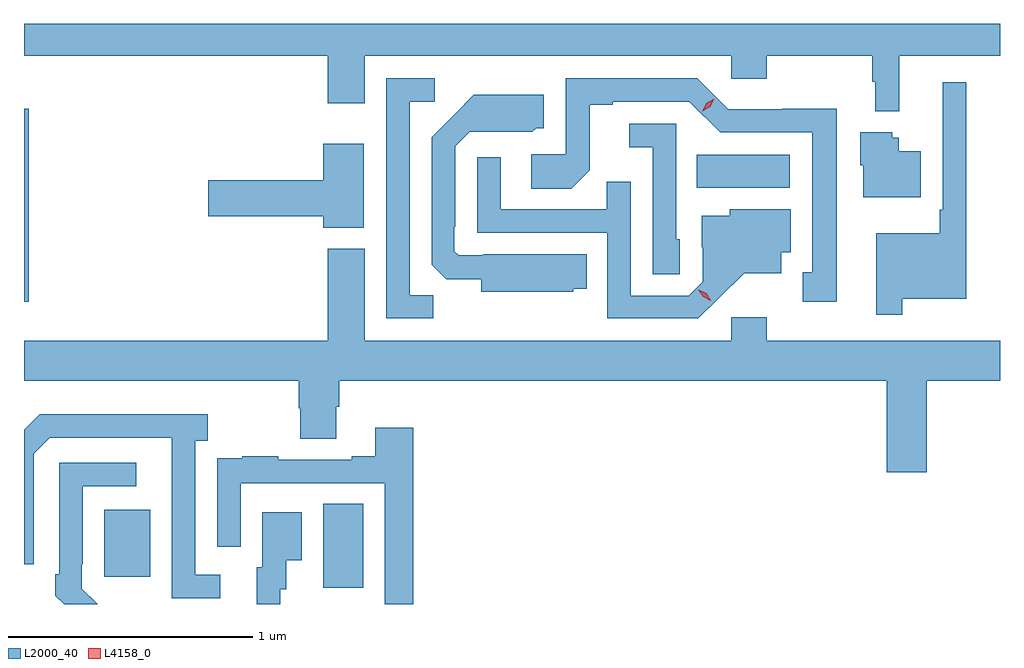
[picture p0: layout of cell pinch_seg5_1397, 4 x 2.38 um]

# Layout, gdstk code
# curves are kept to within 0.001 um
import gdstk
lib = gdstk.Library(unit=1e-6, precision=1e-09)
def R(c, l, rs):  # rectangles x0, y0, x1, y1
    for r in rs: c.add(gdstk.rectangle(r[:2], r[2:], *l))
def P(c, l, *ps):  # polygons
    for p in ps: c.add(gdstk.Polygon(p, *l))
L2000_40 = (2000, 40)
L4158_0 = (4158, 0)

pinch_seg5_1397 = lib.new_cell('pinch_seg5_1397')
R(pinch_seg5_1397, L2000_40, [(126.734,913.189,126.898,913.532), (125.837,913.233,126.025,913.507), (125.508,914.361,125.527,915.152), (128.266,914.828,128.647,914.962)])
P(pinch_seg5_1397, L2000_40, [(129.095,915.368),(129.508,915.368),(129.508,915.5),(125.508,915.5),(125.508,915.368),(126.752,915.368),(126.752,915.174),(126.904,915.174),(126.904,915.368),(128.406,915.368),(128.406,915.275),(128.553,915.275),(128.553,915.368),(128.985,915.368),(128.985,915.261),(128.996,915.261),(128.996,915.14),(129.095,915.14)],
  [(127.185,914.387),(127.089,914.387),(127.089,915.18),(127.192,915.18),(127.192,915.276),(126.993,915.276),(126.993,914.292),(127.185,914.292)],
  [(128.839,915.152),(128.616,915.152),(128.616,915.15),(128.394,915.15),(128.268,915.276),(127.728,915.276),(127.728,914.964),(127.587,914.964),(127.587,914.824),(127.751,914.824),(127.827,914.9),(127.827,915.168),(127.921,915.168),(127.921,915.18),(128.235,915.18),(128.361,915.054),(128.738,915.054),(128.738,914.481),(128.699,914.481),(128.699,914.361),(128.839,914.361)],
  [(129.108,914.372),(129.37,914.372),(129.37,915.259),(129.273,915.259),(129.273,914.737),(129.261,914.737),(129.261,914.641),(129,914.641),(129,914.307),(129.108,914.307)],
  [(127.758,914.414),(127.814,914.414),(127.814,914.554),(127.39,914.554),(127.39,914.55),(127.29,914.55),(127.272,914.568),(127.272,914.668),(127.275,914.668),(127.275,914.997),(127.335,915.057),(127.592,915.056),(127.608,915.072),(127.639,915.072),(127.639,915.208),(127.351,915.208),(127.179,915.034),(127.179,914.512),(127.238,914.453),(127.382,914.453),(127.382,914.402),(127.758,914.402)],
  [(128.196,914.616),(128.181,914.616),(128.181,915.09),(127.989,915.09),(127.989,914.993),(128.085,914.993),(128.085,914.473),(128.196,914.473)],
  [(129.184,914.977),(129.094,914.977),(129.094,915.033),(129.066,915.033),(129.066,915.055),(128.936,915.055),(128.936,914.919),(128.948,914.919),(128.948,914.789),(129.184,914.789)],
  [(126.901,915.007),(126.734,915.007),(126.734,914.858),(126.264,914.858),(126.264,914.711),(126.734,914.711),(126.734,914.663),(126.901,914.663)],
  [(128.356,914.375),(128.459,914.477),(128.611,914.477),(128.611,914.564),(128.65,914.564),(128.65,914.74),(128.4,914.74),(128.4,914.713),(128.285,914.713),(128.285,914.584),(128.289,914.584),(128.289,914.442),(128.232,914.385),(127.995,914.385),(127.995,914.852),(127.897,914.852),(127.897,914.739),(127.461,914.739),(127.461,914.953),(127.365,914.953),(127.365,914.643),(127.899,914.643),(127.899,914.292),(128.272,914.292)],
  [(129.208,914.036),(129.508,914.036),(129.508,914.2),(128.553,914.2),(128.553,914.296),(128.406,914.296),(128.406,914.2),(126.904,914.2),(126.904,914.578),(126.752,914.578),(126.752,914.2),(125.508,914.2),(125.508,914.036),(126.635,914.036),(126.635,913.923),(126.64,913.923),(126.64,913.798),(126.787,913.798),(126.787,913.93),(126.8,913.93),(126.8,914.036),(129.044,914.036),(129.044,913.662),(129.208,913.662)],
  [(126.313,913.242),(126.21,913.242),(126.21,913.79),(126.262,913.79),(126.262,913.9),(125.572,913.9),(125.508,913.836),(125.508,913.284),(125.547,913.284),(125.547,913.737),(125.613,913.803),(126.113,913.803),(126.114,913.146),(126.313,913.146)],
  [(127.103,913.843),(126.947,913.843),(126.947,913.726),(126.851,913.726),(126.851,913.713),(126.551,913.713),(126.551,913.726),(126.403,913.726),(126.403,913.719),(126.301,913.719),(126.301,913.61),(126.3,913.61),(126.3,913.356),(126.396,913.356),(126.396,913.617),(126.987,913.617),(126.987,913.12),(127.103,913.12)],
  [(125.745,913.185),(125.745,913.285),(125.748,913.285),(125.748,913.605),(125.968,913.605),(125.968,913.701),(125.652,913.701),(125.652,913.243),(125.637,913.243),(125.637,913.155),(125.672,913.12),(125.811,913.12)],
  [(126.558,913.182),(126.583,913.182),(126.583,913.301),(126.646,913.301),(126.646,913.498),(126.485,913.498),(126.485,913.272),(126.461,913.272),(126.461,913.12),(126.558,913.12)])
P(pinch_seg5_1397, L4158_0, [(128.288,915.14),(128.288,915.141),(128.305,915.173),(128.337,915.192),(128.337,915.192),(128.337,915.192),(128.32,915.16),(128.288,915.14)],
  [(128.322,914.365),(128.291,914.38),(128.272,914.409),(128.272,914.409),(128.273,914.409),(128.304,914.395),(128.322,914.366),(128.322,914.365)])

lib.write_gds('pinch_seg5_1397.gds')
